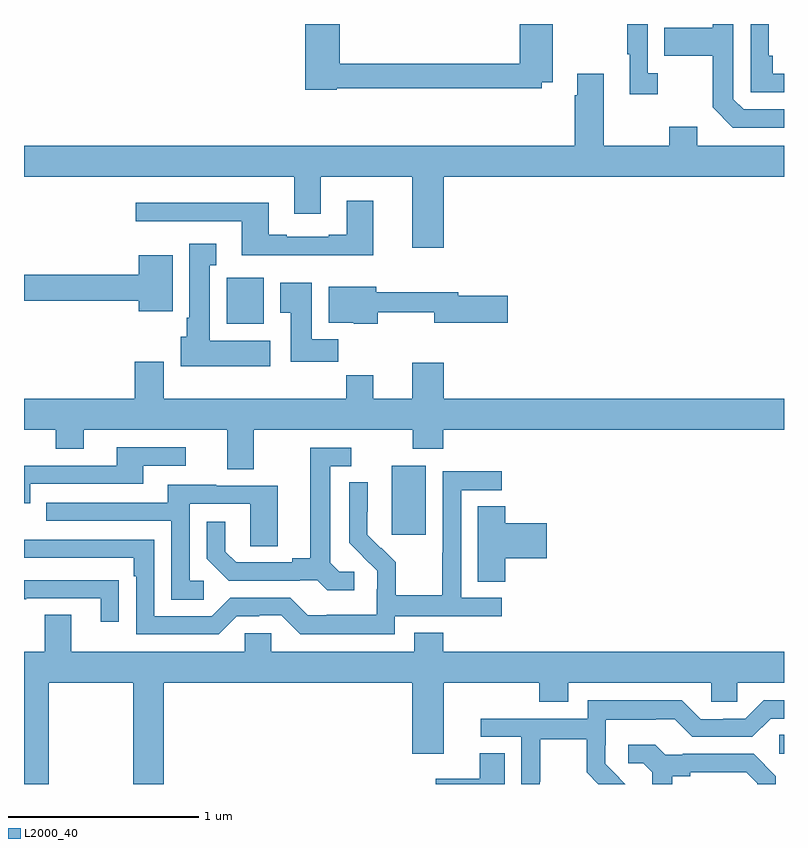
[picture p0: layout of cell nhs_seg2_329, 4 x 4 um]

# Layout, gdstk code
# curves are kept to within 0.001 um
import gdstk
lib = gdstk.Library(unit=1e-6, precision=1e-09)
def R(c, l, rs):  # rectangles x0, y0, x1, y1
    for r in rs: c.add(gdstk.rectangle(r[:2], r[2:], *l))
def P(c, l, *ps):  # polygons
    for p in ps: c.add(gdstk.Polygon(p, *l))
L2000_40 = (2000, 40)

nhs_seg2_329 = lib.new_cell('nhs_seg2_329')
R(nhs_seg2_329, L2000_40, [(130.974,617.958,131,618.059), (128.936,619.113,129.115,619.474), (128.066,620.222,128.263,620.464)])
P(nhs_seg2_329, L2000_40, [(131,621.537),(130.94,621.537),(130.94,621.634),(130.92,621.634),(130.92,621.8),(130.824,621.8),(130.824,621.441),(131,621.441)],
  [(131,621.351),(130.788,621.351),(130.734,621.405),(130.734,621.8),(130.626,621.8),(130.626,621.781),(130.369,621.781),(130.369,621.634),(130.626,621.634),(130.626,621.361),(130.731,621.255),(131,621.255)],
  [(128.646,621.462),(129.726,621.462),(129.726,621.494),(129.783,621.494),(129.783,621.8),(129.608,621.8),(129.608,621.59),(128.663,621.59),(128.663,621.8),(128.48,621.8),(128.48,621.454),(128.646,621.454)],
  [(130.336,621.542),(130.284,621.542),(130.284,621.8),(130.176,621.8),(130.176,621.641),(130.187,621.641),(130.187,621.429),(130.336,621.429)],
  [(129.208,620.996),(131,620.996),(131,621.16),(130.543,621.16),(130.543,621.259),(130.396,621.259),(130.396,621.16),(130.051,621.16),(130.051,621.538),(129.911,621.538),(129.911,621.425),(129.899,621.425),(129.899,621.16),(127,621.16),(127,620.996),(128.423,620.996),(128.423,620.802),(128.563,620.802),(128.563,620.996),(129.044,620.996),(129.044,620.622),(129.208,620.622)],
  [(128.839,620.869),(128.699,620.869),(128.699,620.692),(128.603,620.692),(128.603,620.679),(128.383,620.679),(128.383,620.692),(128.287,620.692),(128.287,620.86),(127.587,620.86),(127.587,620.763),(128.147,620.763),(128.147,620.582),(128.839,620.582)],
  [(128.296,620.134),(127.978,620.134),(127.978,620.531),(128.011,620.531),(128.011,620.644),(127.871,620.644),(127.871,620.254),(127.856,620.254),(127.856,620.154),(127.826,620.154),(127.826,620),(128.296,620)],
  [(127.783,620.584),(127.604,620.584),(127.604,620.48),(127,620.48),(127,620.344),(127.604,620.344),(127.604,620.288),(127.783,620.288)],
  [(128.654,620.14),(128.515,620.14),(128.515,620.437),(128.348,620.437),(128.348,620.281),(128.405,620.281),(128.405,620.022),(128.654,620.022)],
  [(128.862,620.284),(129.158,620.284),(129.158,620.227),(129.547,620.227),(129.547,620.369),(129.286,620.369),(129.286,620.388),(128.854,620.388),(128.854,620.416),(128.603,620.416),(128.603,620.228),(128.736,620.228),(128.736,620.222),(128.862,620.222)],
  [(129.046,619.565),(129.206,619.565),(129.206,619.664),(131,619.664),(131,619.828),(129.208,619.828),(129.208,620.017),(129.044,620.017),(129.044,619.828),(128.839,619.828),(128.839,619.952),(128.695,619.952),(128.695,619.828),(127.735,619.828),(127.735,620.023),(127.583,620.023),(127.583,619.828),(127,619.828),(127,619.664),(127.168,619.664),(127.168,619.565),(127.315,619.565),(127.315,619.664),(128.069,619.664),(128.069,619.456),(128.209,619.456),(128.209,619.664),(129.046,619.664)],
  [(127.032,619.38),(127.627,619.38),(127.627,619.476),(127.852,619.476),(127.852,619.572),(127.487,619.572),(127.487,619.476),(127,619.476),(127,619.277),(127.032,619.277)],
  [(128.739,618.918),(128.658,618.918),(128.611,618.965),(128.611,619.473),(128.722,619.473),(128.722,619.569),(128.507,619.569),(128.507,618.989),(128.411,618.989),(128.411,618.966),(128.116,618.966),(128.059,619.023),(128.059,619.18),(127.962,619.18),(127.962,618.986),(128.078,618.87),(128.45,618.87),(128.45,618.873),(128.544,618.873),(128.596,618.821),(128.739,618.821)],
  [(128.952,618.684),(129.514,618.684),(129.514,618.78),(129.3,618.78),(129.3,619.347),(129.514,619.347),(129.514,619.446),(129.204,619.446),(129.204,619.016),(129.202,619.016),(129.202,618.793),(128.957,618.793),(128.957,618.967),(128.88,619.044),(128.877,619.041),(128.807,619.112),(128.808,619.388),(128.712,619.388),(128.712,619.07),(128.858,618.922),(128.858,618.825),(128.856,618.825),(128.856,618.691),(128.593,618.691),(128.593,618.687),(128.493,618.687),(128.4,618.78),(128.085,618.78),(127.989,618.684),(127.686,618.684),(127.686,619.086),(127,619.086),(127,618.99),(127.577,618.99),(127.577,618.893),(127.59,618.893),(127.59,618.588),(128.025,618.588),(128.121,618.684),(128.239,618.684),(128.239,618.687),(128.355,618.687),(128.455,618.587),(128.952,618.587)],
  [(127.945,618.87),(127.872,618.87),(127.872,619.275),(128.19,619.275),(128.19,619.051),(128.335,619.051),(128.335,619.371),(128.011,619.371),(128.011,619.375),(127.757,619.375),(127.757,619.281),(127.117,619.281),(127.117,619.185),(127.776,619.185),(127.776,618.769),(127.945,618.769)],
  [(129.533,618.989),(129.751,618.989),(129.751,619.172),(129.533,619.172),(129.533,619.262),(129.389,619.262),(129.389,618.865),(129.533,618.865)],
  [(127.499,618.872),(127.397,618.872),(127.397,618.873),(127,618.873),(127,618.772),(127.013,618.772),(127.013,618.777),(127.403,618.777),(127.403,618.654),(127.499,618.654)],
  [(129.206,618.595),(129.053,618.595),(129.053,618.496),(128.301,618.496),(128.301,618.594),(128.163,618.594),(128.163,618.496),(127.249,618.496),(127.249,618.691),(127.109,618.691),(127.109,618.496),(127,618.496),(127,617.8),(127.131,617.8),(127.131,618.332),(127.576,618.332),(127.576,617.8),(127.736,617.8),(127.736,618.332),(129.044,618.332),(129.044,617.958),(129.208,617.958),(129.208,618.332),(129.713,618.332),(129.713,618.233),(129.865,618.233),(129.865,618.332),(130.617,618.332),(130.617,618.234),(130.755,618.234),(130.755,618.332),(131,618.332),(131,618.496),(129.206,618.496)],
  [(129.714,617.812),(129.717,617.812),(129.717,618.036),(129.961,618.036),(129.961,617.861),(130.022,617.8),(130.164,617.8),(130.06,617.906),(130.06,618.003),(130.062,618.003),(130.062,618.137),(130.325,618.137),(130.325,618.141),(130.425,618.141),(130.518,618.048),(130.833,618.048),(130.929,618.144),(131,618.144),(131,618.24),(130.893,618.24),(130.797,618.144),(130.679,618.144),(130.679,618.141),(130.563,618.141),(130.463,618.241),(129.966,618.241),(129.966,618.144),(129.405,618.144),(129.405,618.048),(129.618,618.048),(129.618,617.8),(129.714,617.8)],
  [(130.411,617.84),(130.507,617.84),(130.507,617.862),(130.802,617.862),(130.859,617.805),(130.859,617.8),(130.956,617.8),(130.956,617.842),(130.84,617.958),(130.468,617.958),(130.468,617.955),(130.374,617.955),(130.322,618.007),(130.179,618.007),(130.179,617.91),(130.26,617.91),(130.307,617.863),(130.307,617.8),(130.411,617.8)],
  [(129.529,617.963),(129.398,617.963),(129.398,617.827),(129.168,617.827),(129.168,617.8),(129.529,617.8)])

lib.write_gds('nhs_seg2_329.gds')
